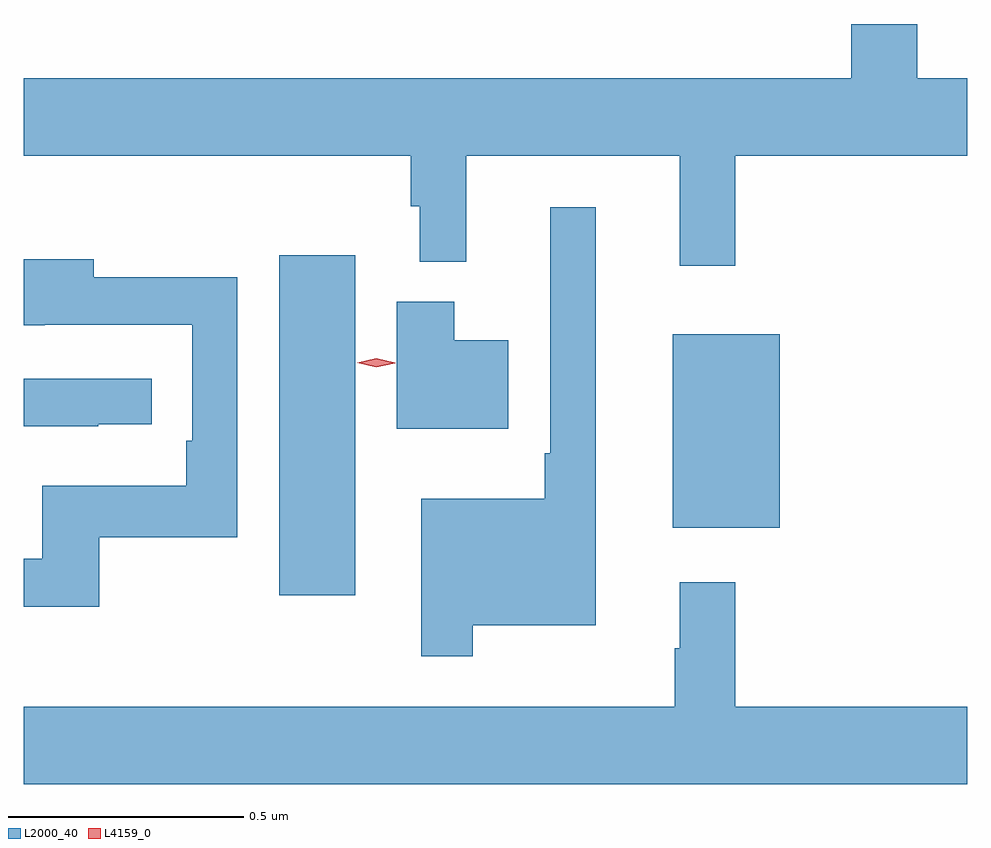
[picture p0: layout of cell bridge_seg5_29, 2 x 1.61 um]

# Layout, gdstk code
import gdstk
lib = gdstk.Library(unit=1e-6, precision=1e-09)
def R(c, l, rs):  # rectangles x0, y0, x1, y1
    for r in rs: c.add(gdstk.rectangle(r[:2], r[2:], *l))
def P(c, l, *ps):  # polygons
    for p in ps: c.add(gdstk.Polygon(p, *l))
L2000_40 = (2000, 40)
L4159_0 = (4159, 0)

bridge_seg5_29 = lib.new_cell('bridge_seg5_29')
R(bridge_seg5_29, L2000_40, [(948.101,874.476,948.262,875.197), (948.935,874.619,949.162,875.029)])
P(bridge_seg5_29, L2000_40, [(949.067,875.408),(949.559,875.408),(949.559,875.572),(949.453,875.572),(949.453,875.687),(949.313,875.687),(949.313,875.572),(947.559,875.572),(947.559,875.408),(948.379,875.408),(948.379,875.301),(948.398,875.301),(948.398,875.183),(948.497,875.183),(948.497,875.408),(948.95,875.408),(948.95,875.175),(949.067,875.175)],
  [(948.511,874.412),(948.772,874.412),(948.772,875.299),(948.675,875.299),(948.675,874.777),(948.663,874.777),(948.663,874.681),(948.402,874.681),(948.402,874.347),(948.511,874.347)],
  [(947.719,874.599),(948.012,874.599),(948.012,875.15),(947.707,875.15),(947.707,875.188),(947.559,875.188),(947.559,875.048),(947.603,875.048),(947.603,875.049),(947.916,875.049),(947.916,874.804),(947.903,874.804),(947.903,874.708),(947.598,874.708),(947.598,874.553),(947.559,874.553),(947.559,874.452),(947.719,874.452)],
  [(948.586,875.017),(948.472,875.017),(948.472,875.098),(948.35,875.098),(948.35,874.829),(948.586,874.829)],
  [(947.717,874.839),(947.83,874.839),(947.83,874.935),(947.559,874.935),(947.559,874.834),(947.717,874.834)],
  [(949.559,874.24),(949.067,874.24),(949.067,874.504),(948.95,874.504),(948.95,874.364),(948.939,874.364),(948.939,874.24),(947.559,874.24),(947.559,874.076),(949.559,874.076)])
P(bridge_seg5_29, L4159_0, [(948.306,874.959),(948.266,874.969),(948.266,874.969),(948.266,874.969),(948.306,874.979),(948.346,874.969),(948.346,874.969),(948.346,874.968)])

lib.write_gds('bridge_seg5_29.gds')
